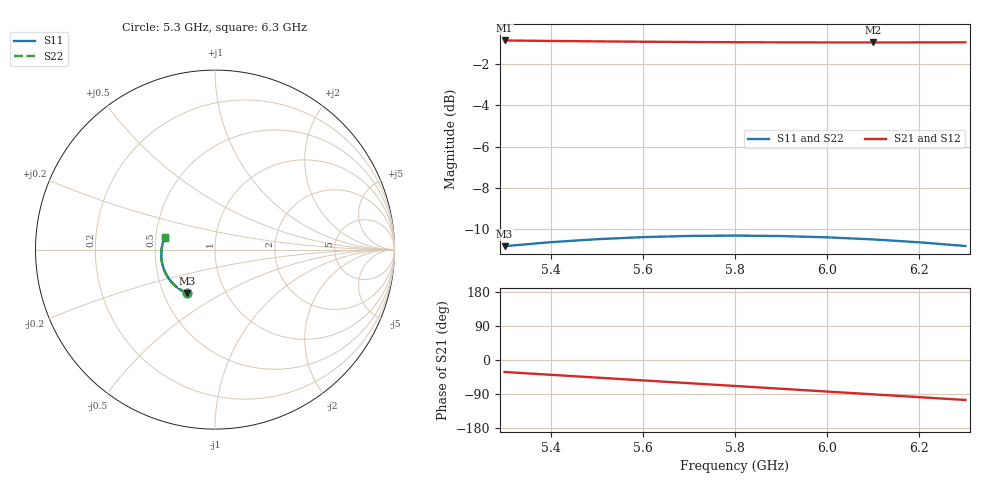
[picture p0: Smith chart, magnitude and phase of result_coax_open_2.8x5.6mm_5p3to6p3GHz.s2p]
! T02: W=2.8, L=5.6 mm L2 windows; original tapers; L3 intact
! 11 direct frequencies 5.3-6.3 GHz; 50-ohm coax reference; connectors included
# Hz S RI R 50
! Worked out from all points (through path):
!   11 points, 5.3 GHz to 6.3 GHz, reference 50 ohm
!   highest |S21| = -0.88 dB at 5.3 GHz (marker M1); lowest = -1.0 dB at 6.1 GHz (marker M2)
!   group delay of S21, straight-line fit = 205 ps
!   lowest |S11| = -10.8 dB at 5.3 GHz (marker M3), VSWR 1.81, Z = 33 - j17.5 ohm
!   |S11| at or under -10 dB: start of sweep to end of sweep
!   |S22| runs from -10.8 to -10.3 dB; largest |S21 - S12| = 1e-12
5.3e9  -0.1542 -0.2433  0.7697 -0.4737  0.7697 -0.4737  -0.1571 -0.2413
5.4e9  -0.187 -0.2274  0.7003 -0.5675  0.7003 -0.5675  -0.1898 -0.225
5.5e9  -0.2171 -0.2061  0.62 -0.6513  0.62 -0.6513  -0.2197 -0.2032
5.6e9  -0.2435 -0.18  0.5303 -0.7241  0.5303 -0.7241  -0.2458 -0.1766
5.7e9  -0.2655 -0.1498  0.4323 -0.7848  0.4323 -0.7848  -0.2675 -0.146
5.8e9  -0.2824 -0.1164  0.3278 -0.8328  0.3278 -0.8328  -0.2839 -0.1121
5.9e9  -0.2938 -0.0807  0.2181 -0.8672  0.2181 -0.8672  -0.2948 -0.0761
6e9  -0.2993 -0.0437  0.1049 -0.8877  0.1049 -0.8877  -0.2997 -0.0389
6.1e9  -0.2989 -0.00652  -0.0102 -0.8937  -0.0102 -0.8937  -0.2987 -0.00153
6.2e9  -0.2927 0.0299  -0.1254 -0.8851  -0.1254 -0.8851  -0.2919 0.0349
6.3e9  -0.281 0.0644  -0.2391 -0.8619  -0.2391 -0.8619  -0.2795 0.0694
